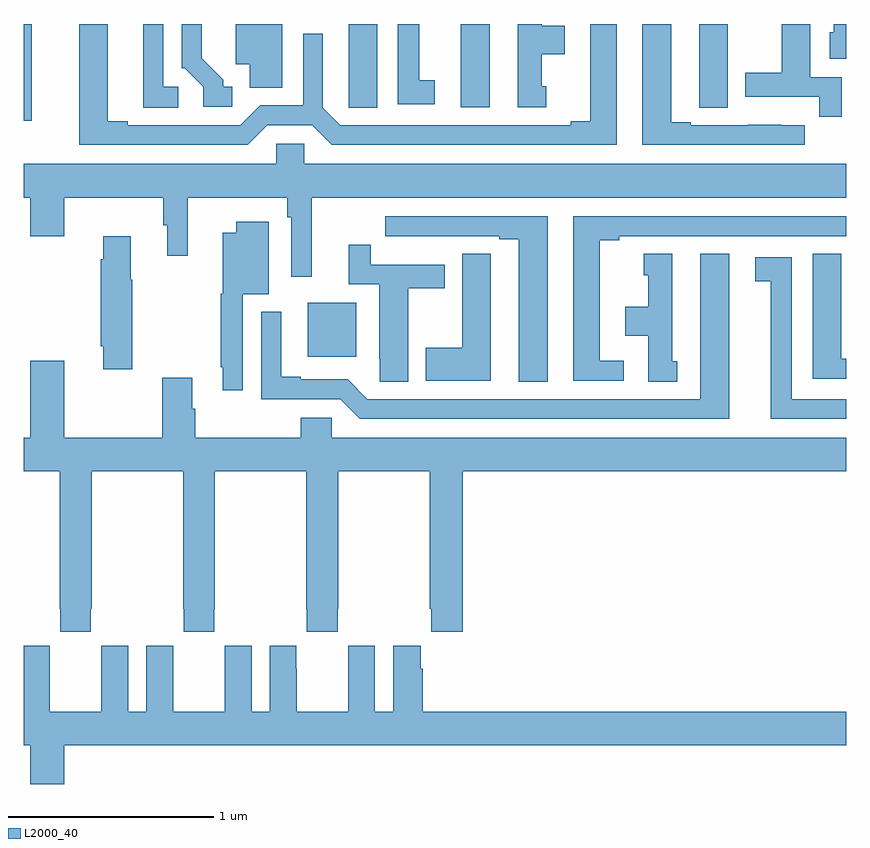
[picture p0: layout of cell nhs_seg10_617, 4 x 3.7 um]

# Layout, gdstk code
import gdstk
lib = gdstk.Library(unit=1e-6, precision=1e-09)
def R(c, l, rs):  # rectangles x0, y0, x1, y1
    for r in rs: c.add(gdstk.rectangle(r[:2], r[2:], *l))
def P(c, l, *ps):  # polygons
    for p in ps: c.add(gdstk.Polygon(p, *l))
L2000_40 = (2000, 40)

nhs_seg10_617 = lib.new_cell('nhs_seg10_617')
R(nhs_seg10_617, L2000_40, [(142.382,1292.882,142.618,1293.145), (141,1294.029,141.039,1294.5), (143.126,1294.095,143.266,1294.5)])
P(nhs_seg10_617, L2000_40, [(141.751,1294.194),(141.678,1294.194),(141.678,1294.5),(141.581,1294.5),(141.581,1294.093),(141.751,1294.093)],
  [(143.542,1294.197),(143.518,1294.197),(143.518,1294.352),(143.632,1294.352),(143.632,1294.492),(143.518,1294.492),(143.518,1294.5),(143.402,1294.5),(143.402,1294.095),(143.542,1294.095)],
  [(142.185,1294.008),(142.403,1294.008),(142.499,1293.912),(143.884,1293.912),(143.884,1294.5),(143.756,1294.5),(143.756,1294.028),(143.66,1294.028),(143.66,1294.008),(142.539,1294.008),(142.455,1294.092),(142.455,1294.453),(142.359,1294.453),(142.359,1294.104),(142.149,1294.104),(142.053,1294.008),(141.505,1294.008),(141.505,1294.028),(141.409,1294.028),(141.409,1294.5),(141.269,1294.5),(141.269,1293.912),(142.089,1293.912)],
  [(142.258,1294.5),(142.031,1294.5),(142.031,1294.304),(142.1,1294.304),(142.1,1294.189),(142.258,1294.189)],
  [(142.72,1294.5),(142.58,1294.5),(142.58,1294.201),(142.581,1294.201),(142.581,1294.093),(142.72,1294.093)],
  [(142.999,1294.226),(142.924,1294.226),(142.924,1294.5),(142.82,1294.5),(142.82,1294.11),(142.999,1294.11)],
  [(144.799,1294.008),(144.686,1294.008),(144.686,1294.009),(144.52,1294.009),(144.52,1294.008),(144.244,1294.008),(144.244,1294.023),(144.148,1294.023),(144.148,1294.5),(144.008,1294.5),(144.008,1293.912),(144.799,1293.912)],
  [(144.424,1294.5),(144.284,1294.5),(144.284,1294.201),(144.285,1294.201),(144.285,1294.093),(144.424,1294.093)],
  [(144.977,1294.242),(144.826,1294.242),(144.826,1294.5),(144.686,1294.5),(144.686,1294.263),(144.509,1294.263),(144.509,1294.146),(144.868,1294.146),(144.868,1294.05),(144.977,1294.05)],
  [(145,1294.5),(144.938,1294.5),(144.938,1294.461),(144.92,1294.461),(144.92,1294.331),(145,1294.331)],
  [(142.015,1294.194),(141.97,1294.194),(141.97,1294.229),(141.865,1294.334),(141.865,1294.5),(141.768,1294.5),(141.768,1294.284),(141.783,1294.284),(141.873,1294.194),(141.873,1294.098),(142.015,1294.098)],
  [(142.4,1293.656),(145,1293.656),(145,1293.82),(142.365,1293.82),(142.365,1293.918),(142.227,1293.918),(142.227,1293.82),(141,1293.82),(141,1293.656),(141.032,1293.656),(141.032,1293.468),(141.196,1293.468),(141.196,1293.656),(141.679,1293.656),(141.679,1293.522),(141.698,1293.522),(141.698,1293.372),(141.798,1293.372),(141.798,1293.656),(142.282,1293.656),(142.282,1293.56),(142.302,1293.56),(142.302,1293.27),(142.4,1293.27)],
  [(143.917,1292.862),(143.8,1292.862),(143.8,1293.448),(143.896,1293.448),(143.896,1293.468),(145,1293.468),(145,1293.564),(143.672,1293.564),(143.672,1292.766),(143.917,1292.766)],
  [(143.548,1293.564),(142.758,1293.564),(142.758,1293.468),(142.87,1293.468),(142.87,1293.467),(143.036,1293.467),(143.036,1293.468),(143.312,1293.468),(143.312,1293.453),(143.408,1293.453),(143.408,1292.761),(143.548,1292.761)],
  [(142.065,1293.185),(142.192,1293.185),(142.192,1293.538),(142.034,1293.538),(142.034,1293.484),(141.968,1293.484),(141.968,1293.189),(141.957,1293.189),(141.957,1292.83),(141.968,1292.83),(141.968,1292.718),(142.065,1292.718)],
  [(141.528,1293.256),(141.52,1293.256),(141.52,1293.469),(141.386,1293.469),(141.386,1293.356),(141.374,1293.356),(141.374,1292.932),(141.386,1292.932),(141.386,1292.82),(141.528,1292.82)],
  [(142.87,1293.214),(143.047,1293.214),(143.047,1293.33),(142.688,1293.33),(142.688,1293.427),(142.58,1293.427),(142.58,1293.234),(142.73,1293.234),(142.73,1292.872),(142.731,1292.872),(142.731,1292.761),(142.87,1292.761)],
  [(143.272,1293.275),(143.271,1293.275),(143.271,1293.383),(143.132,1293.383),(143.132,1292.925),(142.955,1292.925),(142.955,1292.765),(143.272,1292.765)],
  [(145,1292.872),(144.976,1292.872),(144.976,1293.275),(144.975,1293.275),(144.975,1293.383),(144.836,1293.383),(144.836,1292.775),(145,1292.775)],
  [(144.178,1292.859),(144.154,1292.859),(144.154,1293.382),(144.014,1293.382),(144.014,1293.279),(144.038,1293.279),(144.038,1293.124),(143.924,1293.124),(143.924,1292.984),(144.038,1292.984),(144.038,1292.761),(144.178,1292.761)],
  [(144.43,1293.382),(144.29,1293.382),(144.29,1292.676),(142.671,1292.676),(142.575,1292.772),(142.348,1292.772),(142.348,1292.785),(142.252,1292.785),(142.252,1293.1),(142.155,1293.1),(142.155,1292.676),(142.539,1292.676),(142.635,1292.58),(144.43,1292.58)],
  [(145,1292.676),(144.736,1292.676),(144.736,1293.366),(144.558,1293.366),(144.558,1293.25),(144.632,1293.25),(144.632,1292.58),(145,1292.58)],
  [(141.327,1291.657),(141.33,1291.657),(141.33,1292.324),(141.775,1292.324),(141.775,1291.657),(141.777,1291.657),(141.777,1291.545),(141.927,1291.545),(141.927,1291.657),(141.93,1291.657),(141.93,1292.324),(142.375,1292.324),(142.375,1291.657),(142.377,1291.657),(142.377,1291.545),(142.527,1291.545),(142.527,1291.657),(142.53,1291.657),(142.53,1292.324),(142.975,1292.324),(142.975,1291.657),(142.981,1291.657),(142.981,1291.545),(143.135,1291.545),(143.135,1292.324),(145,1292.324),(145,1292.488),(142.497,1292.488),(142.497,1292.586),(142.346,1292.586),(142.346,1292.488),(141.833,1292.488),(141.833,1292.63),(141.82,1292.63),(141.82,1292.779),(141.673,1292.779),(141.673,1292.488),(141.196,1292.488),(141.196,1292.863),(141.032,1292.863),(141.032,1292.488),(141,1292.488),(141,1292.324),(141.175,1292.324),(141.175,1291.657),(141.177,1291.657),(141.177,1291.545),(141.327,1291.545)],
  [(141.196,1290.992),(145,1290.992),(145,1291.156),(142.94,1291.156),(142.94,1291.364),(142.93,1291.364),(142.93,1291.477),(142.796,1291.477),(142.796,1291.156),(142.708,1291.156),(142.708,1291.477),(142.578,1291.477),(142.578,1291.364),(142.577,1291.364),(142.577,1291.156),(142.327,1291.156),(142.327,1291.364),(142.326,1291.364),(142.326,1291.477),(142.196,1291.477),(142.196,1291.156),(142.108,1291.156),(142.108,1291.477),(141.978,1291.477),(141.978,1291.364),(141.977,1291.364),(141.977,1291.156),(141.727,1291.156),(141.727,1291.364),(141.726,1291.364),(141.726,1291.477),(141.596,1291.477),(141.596,1291.156),(141.508,1291.156),(141.508,1291.477),(141.378,1291.477),(141.378,1291.364),(141.377,1291.364),(141.377,1291.156),(141.127,1291.156),(141.127,1291.364),(141.126,1291.364),(141.126,1291.477),(141,1291.477),(141,1290.992),(141.032,1290.992),(141.032,1290.804),(141.196,1290.804)])

lib.write_gds('nhs_seg10_617.gds')
